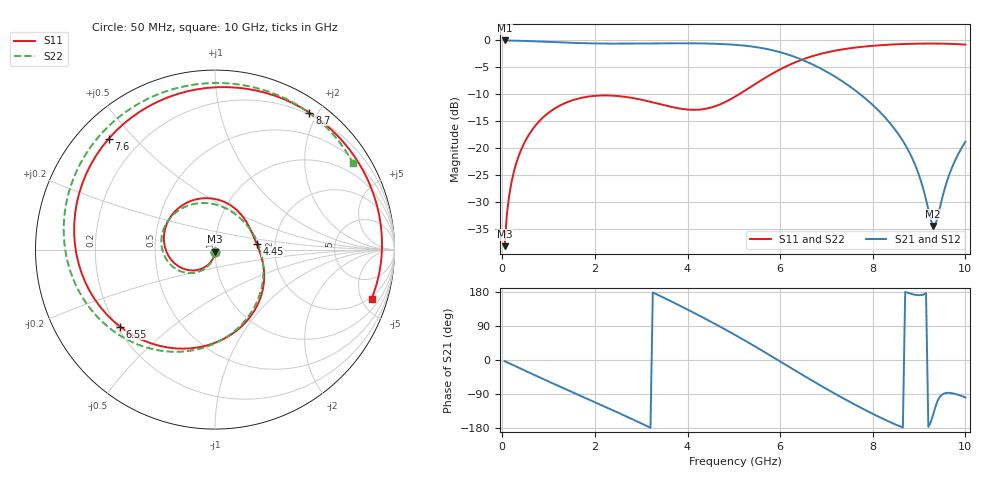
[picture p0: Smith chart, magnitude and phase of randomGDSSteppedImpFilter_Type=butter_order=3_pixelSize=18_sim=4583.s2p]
! freq	dB(S11)	phase(S11)	dB(S12)	phase(S12)
!  dB(S21)	phase(S21)	dB(S22)	phase(S22)
!S-par simulation data
#  GHz  S  DB  R 50
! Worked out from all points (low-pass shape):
!   200 points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, 50 MHz to 10 GHz, reference 50 ohm
!   highest |S21| = 0.00 dB at 50 MHz (marker M1); lowest = -34.5 dB at 9.3 GHz (marker M2)
!   |S21| within 3 dB of the highest: start of sweep to 6.296 GHz
!   lowest |S11| = -38.3 dB at 50 MHz (marker M3), VSWR 1.02, Z = 49.9 - j1.22 ohm
!   |S11| at or under -10 dB: start of sweep to 5.115 GHz
!   |S22| runs from -38.2 to -0.6 dB; largest |S21 - S12| = 0
!   S11 on the Smith chart (normalised r, x): 50 MHz: 1.00, -0.02; 4.45 GHz: 1.60, +0.11; 6.55 GHz: 0.21, -0.34; 7.6 GHz: 0.09, +0.42; 8.7 GHz: 0.17, +1.89; 10 GHz: 1.79, -5.98
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0.05  -38.26 -92.8  -0.00 -2.9  -0.00 -2.9  -38.24 -92.4
0.1  -32.26 -96.1  -0.01 -5.8  -0.01 -5.8  -32.25 -95.2
0.2  -26.31 -102.4  -0.03 -11.5  -0.03 -11.5  -26.31 -100.9
0.5  -18.65 -121.2  -0.10 -28.6  -0.10 -28.6  -18.64 -117.2
1.15  -12.56 -160.3  -0.33 -65.0  -0.33 -65.0  -12.55 -151.1
1.75  -10.60 164.2  -0.51 -97.8  -0.51 -97.8  -10.60 178.8
2.65  -10.49 110.6  -0.59 -147.3  -0.59 -147.3  -10.49 133.6
3.4  -11.84 65.5  -0.54 169.5  -0.54 169.5  -11.88 92.8
3.9  -12.75 36.9  -0.53 139.3  -0.53 139.3  -12.84 61.1
4.45  -12.61 8.1  -0.58 104.6  -0.58 104.6  -12.73 20.2
5.05  -10.34 -25.8  -0.83 64.5  -0.83 64.5  -10.41 -26.6
5.8  -6.33 -79.5  -1.76 10.9  -1.76 10.9  -6.28 -81.0
6.2  -4.54 -111.8  -2.72 -18.5  -2.72 -18.5  -4.45 -108.4
6.55  -3.33 -141.0  -3.87 -44.2  -3.87 -44.2  -3.22 -131.5
6.7  -2.92 -153.5  -4.46 -55.0  -4.46 -55.0  -2.79 -141.1
7.15  -1.97 169.5  -6.55 -86.7  -6.55 -86.7  -1.84 -169.0
7.6  -1.35 133.7  -9.15 -116.8  -9.15 -116.8  -1.26 164.5
8  -1.00 103.5  -12.01 -142.0  -12.01 -142.0  -0.94 141.8
8.35  -0.79 78.7  -15.15 -162.5  -15.15 -162.5  -0.78 122.4
8.7  -0.66 55.5  -19.40 179.7  -19.40 179.7  -0.68 103.2
9.3  -0.58 19.5  -34.51 -145.8  -34.51 -145.8  -0.64 70.7
10  -0.78 -17.5  -18.83 -98.9  -18.83 -98.9  -0.85 32.3
